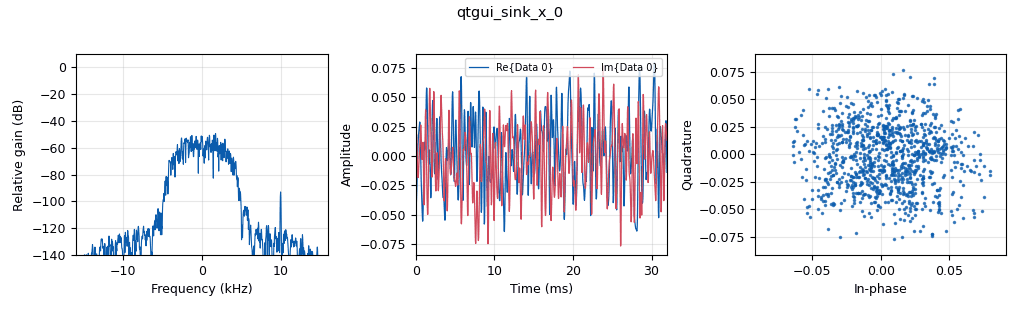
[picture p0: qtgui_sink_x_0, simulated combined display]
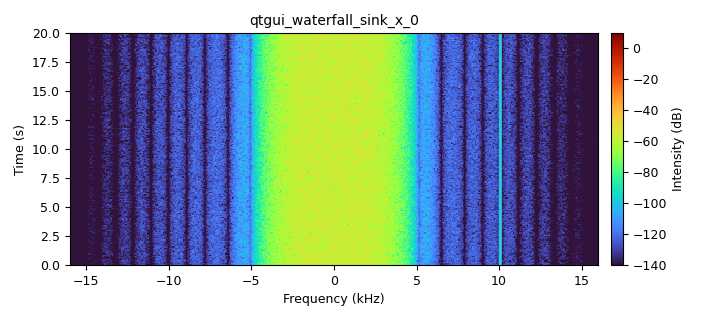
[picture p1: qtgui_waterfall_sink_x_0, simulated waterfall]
<?xml version='1.0' encoding='utf-8'?>
<?grc format='1' created='3.7.10'?>
<flow_graph>
<block>
<key>options</key>
<param><key>id</key><value>top_block</value></param>
<param><key>generate_options</key><value>qt_gui</value></param>
</block>
<block>
<key>variable_qtgui_range</key>
<param><key>id</key><value>L</value></param>
<param><key>value</key><value>30</value></param>
<param><key>orient</key><value>Qt.Horizontal</value></param>
<param><key>start</key><value>1</value></param>
<param><key>step</key><value>0.01</value></param>
<param><key>stop</key><value>100</value></param>
</block>
<block>
<key>variable_qtgui_range</key>
<param><key>id</key><value>a</value></param>
<param><key>value</key><value>.1</value></param>
<param><key>orient</key><value>Qt.Horizontal</value></param>
<param><key>start</key><value>0</value></param>
<param><key>step</key><value>0.01</value></param>
<param><key>stop</key><value>2</value></param>
</block>
<block>
<key>variable_qtgui_range</key>
<param><key>id</key><value>cutoff</value></param>
<param><key>value</key><value>.2</value></param>
<param><key>orient</key><value>Qt.Horizontal</value></param>
<param><key>start</key><value>.01</value></param>
<param><key>step</key><value>.01</value></param>
<param><key>stop</key><value>1</value></param>
</block>
<block>
<key>variable_qtgui_range</key>
<param><key>id</key><value>fc</value></param>
<param><key>value</key><value>10e3</value></param>
<param><key>orient</key><value>Qt.Horizontal</value></param>
<param><key>start</key><value>0</value></param>
<param><key>step</key><value>1e2</value></param>
<param><key>stop</key><value>16e3</value></param>
</block>
<block>
<key>variable</key>
<param><key>id</key><value>samp_rate</value></param>
<param><key>value</key><value>32000</value></param>
</block>
<block>
<key>analog_noise_source_x</key>
<param><key>id</key><value>analog_noise_source_x_0</value></param>
<param><key>amp</key><value>a</value></param>
<param><key>noise_type</key><value>analog.GR_GAUSSIAN</value></param>
<param><key>type</key><value>complex</value></param>
<param><key>seed</key><value>0</value></param>
</block>
<block>
<key>analog_sig_source_x</key>
<param><key>id</key><value>analog_sig_source_x_0</value></param>
<param><key>amp</key><value>1</value></param>
<param><key>freq</key><value>fc</value></param>
<param><key>offset</key><value>0</value></param>
<param><key>type</key><value>complex</value></param>
<param><key>samp_rate</key><value>samp_rate</value></param>
<param><key>waveform</key><value>analog.GR_COS_WAVE</value></param>
</block>
<block>
<key>blocks_add_xx</key>
<param><key>id</key><value>blocks_add_xx_0</value></param>
<param><key>type</key><value>complex</value></param>
</block>
<block>
<key>fft_filter_xxx</key>
<param><key>id</key><value>fft_filter_xxx_0</value></param>
<param><key>decim</key><value>1</value></param>
<param><key>taps</key><value>signal.firwin(L,cutoff)</value></param>
<param><key>type</key><value>ccc</value></param>
</block>
<block>
<key>import</key>
<param><key>id</key><value>import_0</value></param>
<param><key>import</key><value>import numpy as np</value></param>
</block>
<block>
<key>import</key>
<param><key>id</key><value>import_0_0</value></param>
<param><key>import</key><value>from scipy import signal</value></param>
</block>
<block>
<key>qtgui_sink_x</key>
<param><key>id</key><value>qtgui_sink_x_0</value></param>
<param><key>bw</key><value>samp_rate</value></param>
<param><key>fc</key><value>0</value></param>
<param><key>freqchangevar</key><value>None</value></param>
<param><key>fftsize</key><value>1024</value></param>
<param><key>showports</key><value>True</value></param>
<param><key>type</key><value>complex</value></param>
<param><key>wintype</key><value>firdes.WIN_BLACKMAN_hARRIS</value></param>
</block>
<block>
<key>qtgui_waterfall_sink_x</key>
<param><key>id</key><value>qtgui_waterfall_sink_x_0</value></param>
<param><key>bw</key><value>samp_rate</value></param>
<param><key>fc</key><value>0</value></param>
<param><key>fftsize</key><value>1024</value></param>
<param><key>showports</key><value>True</value></param>
<param><key>type</key><value>complex</value></param>
<param><key>wintype</key><value>firdes.WIN_BLACKMAN_hARRIS</value></param>
</block>
<connection><source_block_id>analog_noise_source_x_0</source_block_id><sink_block_id>blocks_add_xx_0</sink_block_id><source_key>0</source_key><sink_key>0</sink_key></connection>
<connection><source_block_id>analog_sig_source_x_0</source_block_id><sink_block_id>blocks_add_xx_0</sink_block_id><source_key>0</source_key><sink_key>1</sink_key></connection>
<connection><source_block_id>blocks_add_xx_0</source_block_id><sink_block_id>fft_filter_xxx_0</sink_block_id><source_key>0</source_key><sink_key>0</sink_key></connection>
<connection><source_block_id>fft_filter_xxx_0</source_block_id><sink_block_id>qtgui_sink_x_0</sink_block_id><source_key>0</source_key><sink_key>0</sink_key></connection>
<connection><source_block_id>fft_filter_xxx_0</source_block_id><sink_block_id>qtgui_waterfall_sink_x_0</sink_block_id><source_key>0</source_key><sink_key>0</sink_key></connection>
</flow_graph>
